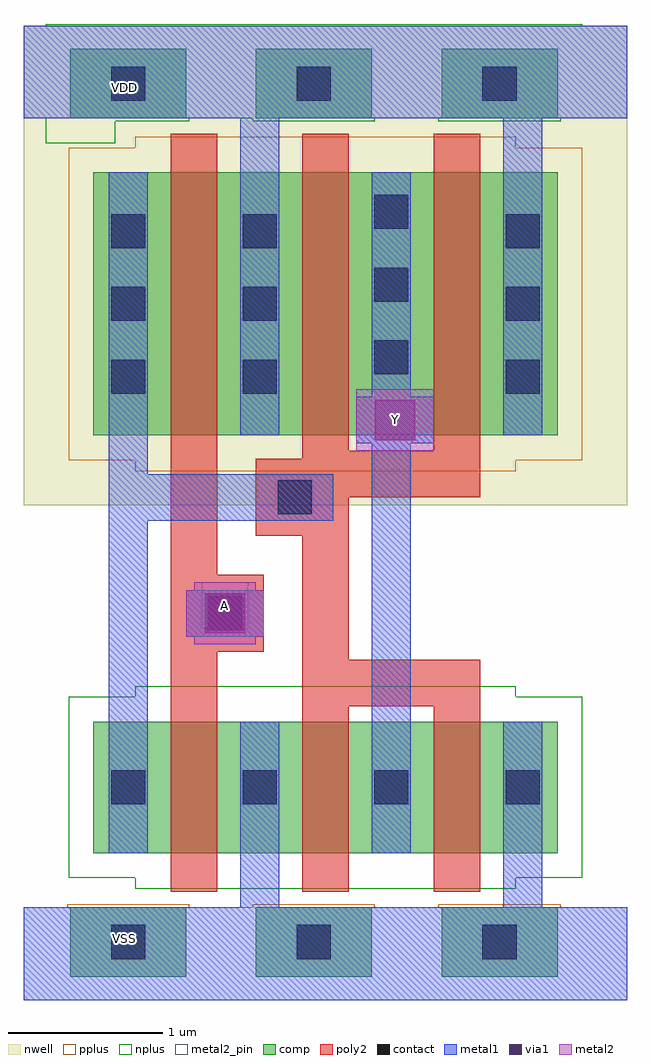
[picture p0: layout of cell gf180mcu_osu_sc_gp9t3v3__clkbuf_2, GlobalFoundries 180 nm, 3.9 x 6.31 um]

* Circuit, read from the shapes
.subckt gf180mcu_osu_sc_gp9t3v3__clkbuf_2 A VDD VSS Y
XM1 VSS A n1 VSS nfet_03v3 w=0.85u l=0.3u
XM2 Y n1 VSS VSS nfet_03v3 w=0.85u l=0.3u m=2
XM3 VDD A n1 VDD pfet_03v3 w=1.7u l=0.3u
XM4 Y n1 VDD VDD pfet_03v3 w=1.7u l=0.3u m=2
.ends

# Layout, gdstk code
import gdstk
lib = gdstk.Library(unit=1e-6, precision=1e-09)
def R(c, l, rs):  # rectangles x0, y0, x1, y1
    for r in rs: c.add(gdstk.rectangle(r[:2], r[2:], *l))
def A(c, l, x, y, w, h, nx, ny, dx, dy):  # array of equal rectangles
    R(c, l, [(x+i*dx, y+j*dy, x+i*dx+w, y+j*dy+h) for i in range(nx) for j in range(ny)])
nwell = (21, 0)
comp = (22, 0)
poly2 = (30, 0)
pplus = (31, 0)
nplus = (32, 0)
contact = (33, 0)
metal1 = (34, 0)
via1 = (35, 0)
metal2 = (36, 0)
metal2_pin = (36, 10)

gf180mcu_osu_sc_gp9t3v3_ = lib.new_cell('gf180mcu_osu_sc_gp9t3v3__clkbuf_2')
R(gf180mcu_osu_sc_gp9t3v3_, nwell, [(0,3.2,3.9,6.3)])
A(gf180mcu_osu_sc_gp9t3v3_, comp, 0.3, 0.15, 0.75, 0.45, 3, 2, 1.2, 5.55)
R(gf180mcu_osu_sc_gp9t3v3_, comp, [(0.45,0.95,3.45,1.8), (0.45,3.65,3.45,5.35)])
R(gf180mcu_osu_sc_gp9t3v3_, poly2, [(0.95,0.7,1.25,2.25), (1.8,0.7,2.1,1.9), (2.65,0.7,2.95,1.9), (1.8,1.9,2.95,2.2), (1.8,2.2,2.1,3), (0.95,2.25,1.55,2.75), (0.95,2.75,1.25,5.6), (1.5,3,2.1,3.25), (1.5,3.25,2.95,3.5), (1.8,3.5,2.95,3.55), (1.8,3.55,2.1,5.6), (2.65,3.55,2.95,5.6)])
A(gf180mcu_osu_sc_gp9t3v3_, pplus, 0.28, 0.13, 0.79, 0.49, 3, 1, 1.2, 0)
R(gf180mcu_osu_sc_gp9t3v3_, pplus, [(0,0,3.9,0.6), (0.72,3.42,3.18,3.49), (0.29,3.49,3.61,5.51), (0.72,5.51,3.18,5.58)])
R(gf180mcu_osu_sc_gp9t3v3_, nplus, [(0.72,0.72,3.18,0.79), (0.29,0.79,3.61,1.96), (0.72,1.96,3.18,2.03), (0.14,5.54,0.59,5.68), (0.14,5.68,1.07,5.7), (1.48,5.68,2.27,5.7), (2.68,5.68,3.47,5.7), (0,5.7,3.9,6.3), (0,5.7,3.9,6.3), (0.14,6.3,3.61,6.31)])
A(gf180mcu_osu_sc_gp9t3v3_, contact, 0.565, 0.265, 0.22, 0.22, 3, 2, 1.2, 5.55)
A(gf180mcu_osu_sc_gp9t3v3_, contact, 0.565, 1.265, 0.22, 0.22, 4, 1, 0.85, 0)
A(gf180mcu_osu_sc_gp9t3v3_, contact, 0.565, 3.92, 0.22, 0.22, 1, 3, 0, 0.47)
A(gf180mcu_osu_sc_gp9t3v3_, contact, 1.415, 3.92, 0.22, 0.22, 1, 3, 0, 0.47)
A(gf180mcu_osu_sc_gp9t3v3_, contact, 3.115, 3.92, 0.22, 0.22, 1, 3, 0, 0.47)
A(gf180mcu_osu_sc_gp9t3v3_, contact, 2.265, 4.045, 0.22, 0.22, 1, 3, 0, 0.47)
R(gf180mcu_osu_sc_gp9t3v3_, contact, [(1.19,2.39,1.41,2.61), (1.64,3.14,1.86,3.36)])
R(gf180mcu_osu_sc_gp9t3v3_, metal1, [(0,0,3.9,0.6), (1.4,0.6,1.65,1.8), (3.1,0.6,3.35,1.8), (0.55,0.95,0.8,3.1), (2.25,0.95,2.5,3.6), (1.05,2.35,1.55,2.65), (0.55,3.1,2,3.4), (0.55,3.4,0.8,5.35), (2.15,3.6,2.65,3.9), (1.4,3.65,1.65,5.7), (3.1,3.65,3.35,5.7), (2.25,3.9,2.5,5.35), (0,5.7,3.9,6.3)])
R(gf180mcu_osu_sc_gp9t3v3_, via1, [(1.17,2.37,1.43,2.63), (2.27,3.62,2.53,3.88)])
R(gf180mcu_osu_sc_gp9t3v3_, metal2, [(1.1,2.3,1.5,2.35), (1.05,2.35,1.55,2.65), (1.1,2.65,1.5,2.7), (2.15,3.55,2.65,3.95)])
R(gf180mcu_osu_sc_gp9t3v3_, metal2_pin, [(1.15,2.4,1.45,2.7)])
gf180mcu_osu_sc_gp9t3v3_.add(gdstk.Label('Y', (2.4,3.75), layer=36, texttype=10))
gf180mcu_osu_sc_gp9t3v3_.add(gdstk.Label('VDD', (0.65,5.9), layer=22, texttype=0))
gf180mcu_osu_sc_gp9t3v3_.add(gdstk.Label('VSS', (0.65,0.4), layer=22, texttype=0))
gf180mcu_osu_sc_gp9t3v3_.add(gdstk.Label('A', (1.3,2.55), layer=36, texttype=10))

lib.write_gds('gf180mcu_osu_sc_gp9t3v3__clkbuf_2.gds')
